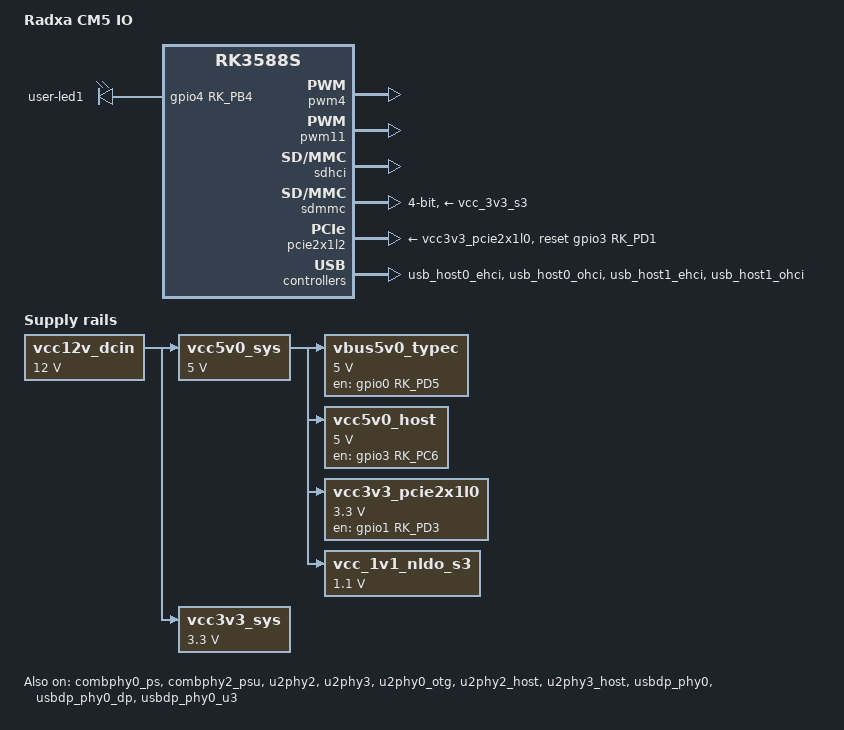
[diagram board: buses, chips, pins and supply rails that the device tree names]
// SPDX-License-Identifier: (GPL-2.0+ OR MIT)

#include "rk3588s-radxa-cm5.dtsi"

/ {
	model = "Radxa CM5 IO";
	compatible = "radxa,cm5-io", "radxa,cm5", "rockchip,rk3588s";

	chosen {
		stdout-path = "serial2:1500000n8";
	};

	leds {
		compatible = "gpio-leds";

		user-led1 {
			gpios = <&gpio4 RK_PB4 GPIO_ACTIVE_HIGH>;
			linux,default-trigger = "heartbeat";
			default-state = "on";
		};
	};

	vcc12v_dcin: vcc12v-dcin-regulator {
		compatible = "regulator-fixed";
		regulator-name = "vcc12v_dcin";
		regulator-always-on;
		regulator-boot-on;
		regulator-min-microvolt = <12000000>;
		regulator-max-microvolt = <12000000>;
	};

	vcc5v0_sys: vcc5v0-sys-regulator {
		compatible = "regulator-fixed";
		regulator-name = "vcc5v0_sys";
		regulator-always-on;
		regulator-boot-on;
		regulator-min-microvolt = <5000000>;
		regulator-max-microvolt = <5000000>;
		vin-supply = <&vcc12v_dcin>;
	};

	vbus5v0_typec: vbus5v0-typec-regulator {
		compatible = "regulator-fixed";
		regulator-name = "vbus5v0_typec";
		gpio = <&gpio0 RK_PD5 GPIO_ACTIVE_HIGH>;
		pinctrl-names = "default";
		pinctrl-0 = <&vbus5v0_typec_en>;
		enable-active-high;
		regulator-boot-on;
		regulator-min-microvolt = <5000000>;
		regulator-max-microvolt = <5000000>;
		vin-supply = <&vcc5v0_sys>;
	};

	vcc3v3_sys: vcc3v3-sys-regulator {
		compatible = "regulator-fixed";
		regulator-name = "vcc3v3_sys";
		regulator-always-on;
		regulator-boot-on;
		regulator-min-microvolt = <3300000>;
		regulator-max-microvolt = <3300000>;
		vin-supply = <&vcc12v_dcin>;
	};

	vcc5v0_host: vcc5v0-host-regulator-regulator {
		compatible = "regulator-fixed";
		regulator-name = "vcc5v0_host";
		regulator-boot-on;
		regulator-always-on;
		regulator-min-microvolt = <5000000>;
		regulator-max-microvolt = <5000000>;
		enable-active-high;
		gpio = <&gpio3 RK_PC6 GPIO_ACTIVE_HIGH>;
		pinctrl-names = "default";
		pinctrl-0 = <&vcc5v0_host_en>;
		vin-supply = <&vcc5v0_sys>;
	};

	vcc3v3_pcie2x1l0: vcc3v3-pcie2x1l0-regulator {
		compatible = "regulator-fixed";
		regulator-name = "vcc3v3_pcie2x1l0";
		regulator-min-microvolt = <3300000>;
		regulator-max-microvolt = <3300000>;
		enable-active-high;
		regulator-boot-on;
		regulator-always-on;
		gpios = <&gpio1 RK_PD3 GPIO_ACTIVE_HIGH>;
		startup-delay-us = <50000>;
		vin-supply = <&vcc5v0_sys>;
	};

	vcc_1v1_nldo_s3: vcc-1v1-nldo-s3-regulator {
		compatible = "regulator-fixed";
		regulator-name = "vcc_1v1_nldo_s3";
		regulator-always-on;
		regulator-boot-on;
		regulator-min-microvolt = <1100000>;
		regulator-max-microvolt = <1100000>;
		vin-supply = <&vcc5v0_sys>;
	};
};

&combphy0_ps {
	status = "okay";
};

&combphy2_psu {
	status = "okay";
};

&pinctrl {
	usb {
		vcc5v0_host_en: vcc5v0-host-en {
			rockchip,pins = <3 RK_PC6 RK_FUNC_GPIO &pcfg_pull_none>;
		};
	};

	headphone {
		hp_det: hp-det {
			rockchip,pins = <1 RK_PC0 RK_FUNC_GPIO &pcfg_pull_up>;
		};
	};

	fusb302 {
		vbus5v0_typec_en: vbus5v0-typec-en {
			rockchip,pins = <0 RK_PD5 RK_FUNC_GPIO &pcfg_pull_none>;
		};

		usbc0_int: usbc0-int {
			rockchip,pins = <0 RK_PC4 RK_FUNC_GPIO &pcfg_pull_up>;
		};
	};

	hym8563 {
		rtc_int: rtc-int {
			rockchip,pins = <0 RK_PB0 RK_FUNC_GPIO &pcfg_pull_up>;
		};
	};
};

&pwm4 {
	pinctrl-names = "default";
	pinctrl-0 = <&pwm4m0_pins>;
	status = "okay";
};

&pwm11 {
	pinctrl-names = "default";
	pinctrl-0 = <&pwm11m3_pins>;
	status = "okay";
};

&sdhci {
	status = "okay";
};

&sdmmc {
	max-frequency = <200000000>;
	no-sdio;
	no-mmc;
	bus-width = <4>;
	cap-mmc-highspeed;
	cap-sd-highspeed;
	disable-wp;
	sd-uhs-sdr104;
	vmmc-supply = <&vcc_3v3_s3>;
	vqmmc-supply = <&vccio_sd_s0>;
	status = "okay";
};

&pcie2x1l2 {
	reset-gpios = <&gpio3 RK_PD1 GPIO_ACTIVE_HIGH>;
	vpcie3v3-supply = <&vcc3v3_pcie2x1l0>;
	status = "okay";
};

&u2phy2 {
	status = "okay";
};

&u2phy3 {
	status = "okay";
};

&u2phy0_otg {
	rockchip,sel-pipe-phystatus;
	rockchip,typec-vbus-det;
	status = "okay";
};

&u2phy2_host {
	status = "okay";
};

&u2phy3_host {
	status = "okay";
};

&usb_host0_ehci {
	status = "okay";
};

&usb_host0_ohci {
	status = "okay";
};

&usb_host1_ehci {
	status = "okay";
};

&usb_host1_ohci {
	status = "okay";
};

&usbdp_phy0 {
	status = "okay";
};

&usbdp_phy0_dp {
	status = "okay";
};

&usbdp_phy0_u3 {
	status = "okay";
};
